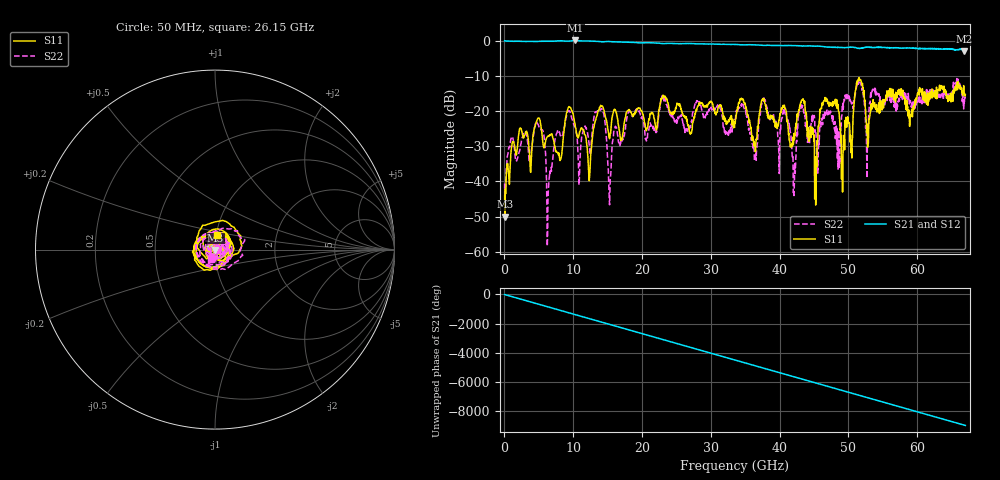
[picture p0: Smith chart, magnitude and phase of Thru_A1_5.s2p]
#  HZ  S  MA  R  50.00
! Rohde & Schwarz ZVA67 4Ports - Version 4.11 - 1305.7002k04 SN: 101051
! Date: 2023-05-31 11:08:05
! Measurements: S11 S21 S12 S22
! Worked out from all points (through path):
!   1340 points, 50 MHz to 67 GHz, reference 50 ohm
!   highest |S21| = 0.12 dB at 10.3 GHz (marker M1); lowest = -3.0 dB at 66.85 GHz (marker M2)
!   group delay of S21, straight-line fit = 373 ps
!   lowest |S11| = -50.1 dB at 100 MHz (marker M3), VSWR 1.01, Z = 50.3 - j0.19 ohm
!   |S11| at or under -10 dB: start of sweep to end of sweep
!   |S22| runs from -58.4 to -10.7 dB; largest |S21 - S12| = 0.019
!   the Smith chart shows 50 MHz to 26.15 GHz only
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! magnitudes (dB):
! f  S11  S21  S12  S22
! 50 MHz  -44.0  0.0  0.0  -40.6
! 100 MHz  -50.1  0.0  0.0  -48.4
! 2.35 GHz  -24.8  -0.1  -0.1  -30.0
! 5.45 GHz  -26.0  -0.1  -0.1  -25.3
! 6.4 GHz  -27.2  -0.1  -0.1  -42.4
! 7.6 GHz  -31.7  0.0  0.0  -26.4
! 10.3 GHz  -24.1  0.1  0.1  -24.6
! 11.25 GHz  -24.8  0.0  0.0  -27.3
! 12.4 GHz  -38.6  0.0  0.0  -30.6
! 14.15 GHz  -18.7  -0.3  -0.2  -19.3
! 15.3 GHz  -27.8  -0.2  -0.2  -46.7
! 18.1 GHz  -19.8  -0.4  -0.4  -20.2
! 22.4 GHz  -20.9  -0.6  -0.6  -21.9
! 33.55 GHz  -23.5  -1.0  -1.0  -22.2
! 36.45 GHz  -30.2  -1.1  -1.1  -33.0
! 40.7 GHz  -18.3  -1.4  -1.3  -20.4
! 42.1 GHz  -26.4  -1.3  -1.3  -44.0
! 43 GHz  -18.3  -1.4  -1.4  -19.9
! 44.7 GHz  -24.6  -1.5  -1.5  -21.4
! 55.85 GHz  -15.8  -1.9  -1.9  -15.7
! 66.85 GHz  -14.8  -3.0  -3.0  -18.0
! 67 GHz  -15.3  -2.7  -2.7  -16.4
